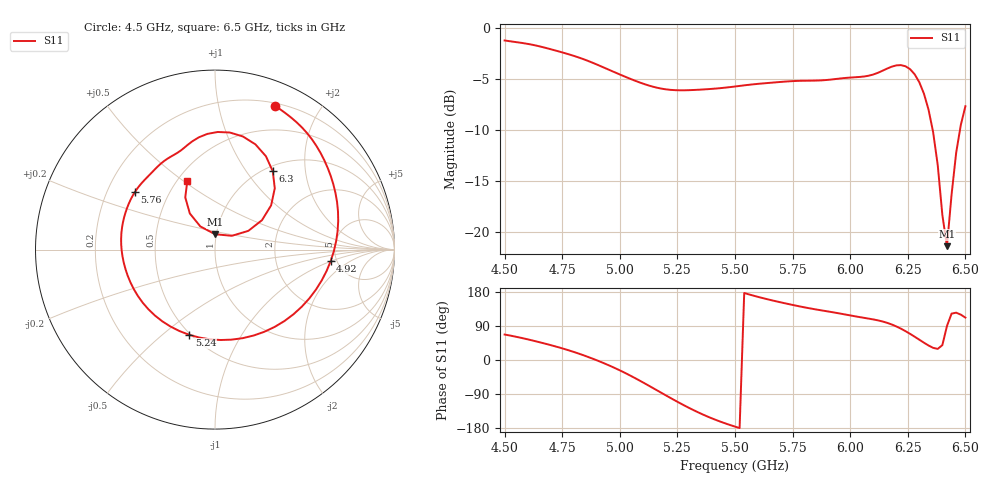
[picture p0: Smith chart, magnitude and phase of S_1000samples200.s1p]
! TOUCHSTONE file generated by CST MICROWAVE STUDIO
! Date and time: Thu Oct 27 08:43:27 2022
! Project name: L.cst
! Parameters = {Di=1.27; Epsilon_r=1.56; InnerDiameter=1.27; Length=2; Lf=10; Lg=60; OuterConductorThickness=0.2921; OuterDiameter=3.6; Wf=3; Wp=41.2; de=1.5; df=6.8; g=0.8; gx=4.26833; gy=1.00353; h=2.34; hf=1.524; px=13.6631; py=11.7066; w=9.7; wx=9.39479; wy=10.703}
! Header version: 2018
! Port assignment regex: !\s*Touchstone port\s*([0-9]+)\s*=\s*(CST MWS port|CST DS port)\s*([0-9]+|Zmin|Zmax)\s*\(\"(.*)\"\)(\s*mode\s*([0-9]+))?.*
! Touchstone port assignment:
! Touchstone port 1 = CST MWS port 1 ("")
# GHz S DB R 50
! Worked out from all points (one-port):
!   101 points, 4.5 GHz to 6.5 GHz, reference 50 ohm
!   lowest |S11| = -21.4 dB at 6.42 GHz (marker M1), VSWR 1.19, Z = 49.3 + j8.5 ohm
!   |S11| at or under -10 dB: 6.358 GHz to 6.476 GHz (118.2 MHz wide, 1.84 % of centre)
!   S11 on the Smith chart (normalised r, x): 4.5 GHz: 0.23, +1.48; 4.92 GHz: 4.45, -0.98; 5.24 GHz: 0.49, -0.62; 5.76 GHz: 0.32, +0.29; 6.3 GHz: 1.09, +1.34; 6.5 GHz: 0.56, +0.52
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4.5  -1.23 67.3
4.62  -1.65 51.7
4.76  -2.46 29.0
4.84  -3.04 13.0
4.92  -3.77 -5.7
5  -4.56 -27.3
5.06  -5.11 -45.8
5.12  -5.60 -65.8
5.18  -5.94 -86.5
5.24  -6.09 -106.9
5.26  -6.11 -113.5
5.38  -6.00 -149.0
5.5  -5.73 -175.8
5.62  -5.43 163.4
5.76  -5.20 144.1
6  -4.86 117.7
6.16  -3.98 98.2
6.22  -3.64 82.8
6.26  -4.04 69.0
6.3  -5.32 53.6
6.32  -6.43 45.7
6.36  -10.21 32.0
6.38  -13.43 29.3
6.4  -18.30 39.2
6.42  -21.36 89.7
6.44  -16.31 122.4
6.46  -12.21 124.9
6.5  -7.66 111.9
